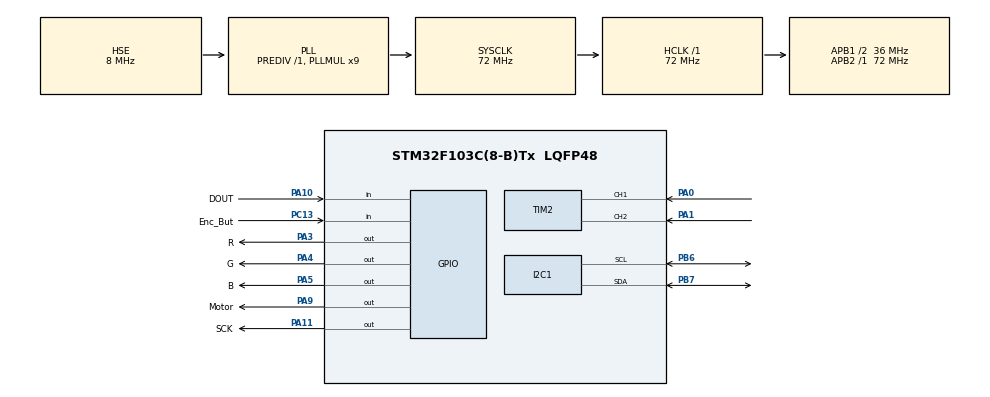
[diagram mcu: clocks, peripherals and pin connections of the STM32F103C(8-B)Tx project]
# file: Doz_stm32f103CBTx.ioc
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Mcu.Family=STM32F1
Mcu.Name=STM32F103C(8-B)Tx
Mcu.Package=LQFP48
NVIC.PriorityGroup=NVIC_PRIORITYGROUP_4
PA0-WKUP.GPIO_PuPd=GPIO_PULLUP
PA0-WKUP.Signal=S_TIM2_CH1_ETR
PA1.GPIO_PuPd=GPIO_PULLUP
PA1.Signal=S_TIM2_CH2
PA10.GPIO_Label=DOUT
PA10.Signal=GPIO_Input
PA11.GPIO_Label=SCK
PA11.Signal=GPIO_Output
PA13.Mode=Serial_Wire
PA13.Signal=SYS_JTMS-SWDIO
PA14.Mode=Serial_Wire
PA14.Signal=SYS_JTCK-SWCLK
PA3.GPIO_Label=R
PA3.Signal=GPIO_Output
PA4.GPIO_Label=G
PA4.Signal=GPIO_Output
PA5.GPIO_Label=B
PA5.Signal=GPIO_Output
PA9.GPIO_Label=Motor
PA9.PinState=GPIO_PIN_SET
PA9.Signal=GPIO_Output
PB6.Mode=I2C
PB6.Signal=I2C1_SCL
PB7.Mode=I2C
PB7.Signal=I2C1_SDA
PC13-TAMPER-RTC.GPIO_Label=Enc_But
PC13-TAMPER-RTC.GPIO_PuPd=GPIO_PULLUP
PC13-TAMPER-RTC.Signal=GPIO_Input
PD0-OSC_IN.Mode=HSE-External-Oscillator
PD0-OSC_IN.Signal=RCC_OSC_IN
PD1-OSC_OUT.Mode=HSE-External-Oscillator
PD1-OSC_OUT.Signal=RCC_OSC_OUT
ProjectManager.HeapSize=0x200
ProjectManager.StackSize=0x400
ProjectManager.TargetToolchain=CMake
RCC.ADCPresc=RCC_ADCPCLK2_DIV6
RCC.AHBFreq_Value=72000000
RCC.APB1CLKDivider=RCC_HCLK_DIV2
RCC.APB1Freq_Value=36000000
RCC.APB1TimFreq_Value=72000000
RCC.APB2Freq_Value=72000000
RCC.APB2TimFreq_Value=72000000
RCC.HCLKFreq_Value=72000000
RCC.PLLMUL=RCC_PLL_MUL9
RCC.PLLSourceVirtual=RCC_PLLSOURCE_HSE
RCC.SYSCLKFreq_VALUE=72000000
RCC.SYSCLKSource=RCC_SYSCLKSOURCE_PLLCLK
RCC.USBFreq_Value=72000000
SH.S_TIM2_CH1_ETR.0=TIM2_CH1,Encoder_Interface
SH.S_TIM2_CH2.0=TIM2_CH2,Encoder_Interface
TIM1.Prescaler=71
TIM2.EncoderMode=TIM_ENCODERMODE_TI12
TIM2.IC1Filter=5
TIM2.IC2Filter=5
VP_TIM1_VS_ClockSourceINT.Mode=Internal
board=custom

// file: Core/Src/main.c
/* USER CODE BEGIN Header */
/**
  ******************************************************************************
  * @file           : main.c
  * @brief          : Main program body
  ******************************************************************************
  * @attention
  *
  * Copyright (c) 2026 STMicroelectronics.
  * All rights reserved.
  *
  * This software is licensed under terms that can be found in the LICENSE file
  * in the root directory of this software component.
  * If no LICENSE file comes with this software, it is provided AS-IS.
  *
  ******************************************************************************
  */
/* USER CODE END Header */
#include "main.h"
#include "i2c.h"
#include "tim.h"
#include "gpio.h"

/* USER CODE BEGIN Includes */
#include "app.h"
#include "doz_fee.h"
#include "enc.h"
#include "hx.h"
#include "lcd.h"
#include "motor.h"
#include "rgb.h"

/* USER CODE END Includes */

void SystemClock_Config(void);

int main(void)
{

  /* MCU Configuration--------------------------------------------------------*/

  /* Reset of all peripherals, Initializes the Flash interface and the Systick. */
  HAL_Init();

  /* Configure the system clock */
  SystemClock_Config();

  /* Initialize all configured peripherals */
  MX_GPIO_Init();
  MX_I2C1_Init();
  MX_TIM2_Init();
  MX_TIM1_Init();
  /* USER CODE BEGIN 2 */

  Motor_Stop();
  RGB_Stop();
  FEE_Settings_Init();
  HX_Init();
  LCD_Init();
  Enc_Init();

  /* USER CODE END 2 */

  /* Infinite loop */
  while (1)
  {

    /* USER CODE BEGIN 3 */
    Enc_Update_Loop();
    Enc_Button_Loop();
    App_Loop();
    LCD_Loop();
  }
  /* USER CODE END 3 */
}

void SystemClock_Config(void)
{
  RCC_OscInitTypeDef RCC_OscInitStruct = {0};
  RCC_ClkInitTypeDef RCC_ClkInitStruct = {0};

  /** Initializes the RCC Oscillators according to the specified parameters
  * in the RCC_OscInitTypeDef structure.
  */
  RCC_OscInitStruct.OscillatorType = RCC_OSCILLATORTYPE_HSE;
  RCC_OscInitStruct.HSEState = RCC_HSE_ON;
  RCC_OscInitStruct.HSEPredivValue = RCC_HSE_PREDIV_DIV1;
  RCC_OscInitStruct.HSIState = RCC_HSI_ON;
  RCC_OscInitStruct.PLL.PLLState = RCC_PLL_ON;
  RCC_OscInitStruct.PLL.PLLSource = RCC_PLLSOURCE_HSE;
  RCC_OscInitStruct.PLL.PLLMUL = RCC_PLL_MUL9;
  if (HAL_RCC_OscConfig(&RCC_OscInitStruct) != HAL_OK)
  {
    Error_Handler();
  }

  /** Initializes the CPU, AHB and APB buses clocks
  */
  RCC_ClkInitStruct.ClockType = RCC_CLOCKTYPE_HCLK|RCC_CLOCKTYPE_SYSCLK
                              |RCC_CLOCKTYPE_PCLK1|RCC_CLOCKTYPE_PCLK2;
  RCC_ClkInitStruct.SYSCLKSource = RCC_SYSCLKSOURCE_PLLCLK;
  RCC_ClkInitStruct.AHBCLKDivider = RCC_SYSCLK_DIV1;
  RCC_ClkInitStruct.APB1CLKDivider = RCC_HCLK_DIV2;
  RCC_ClkInitStruct.APB2CLKDivider = RCC_HCLK_DIV1;

  if (HAL_RCC_ClockConfig(&RCC_ClkInitStruct, FLASH_LATENCY_2) != HAL_OK)
  {
    Error_Handler();
  }
}

void Error_Handler(void)
{
  __disable_irq();
  while (1)
  {
  }
}
